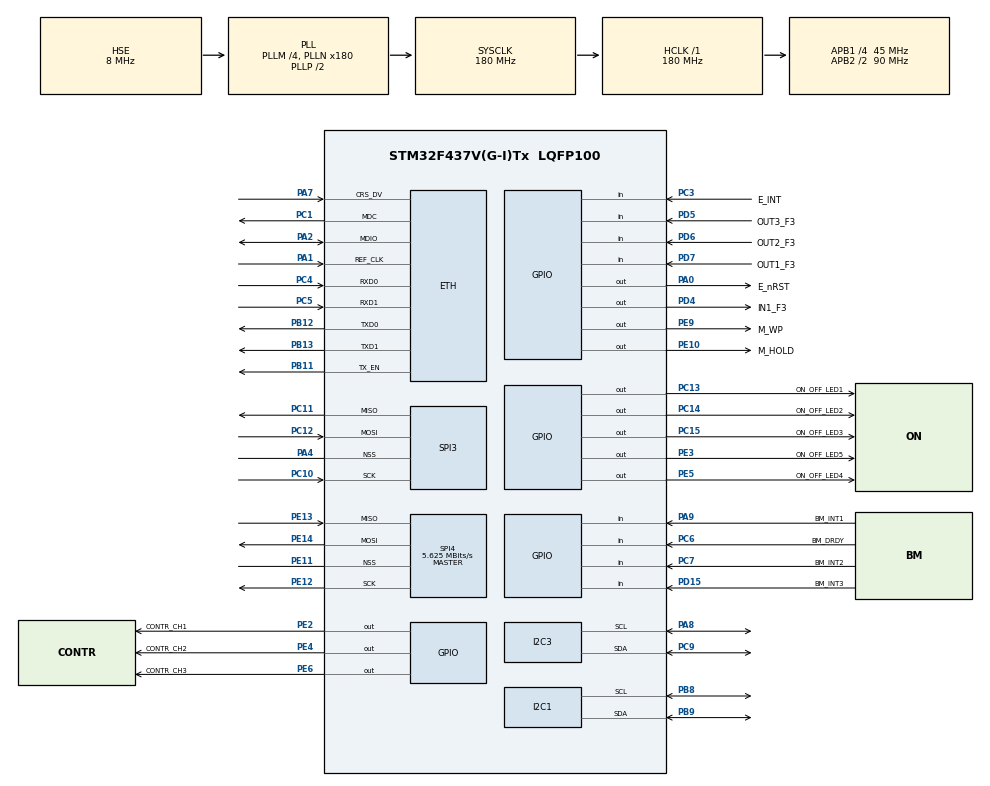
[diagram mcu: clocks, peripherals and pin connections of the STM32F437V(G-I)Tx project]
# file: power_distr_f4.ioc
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Dma.I2C1_RX.3.Channel=DMA_CHANNEL_1
Dma.I2C1_RX.3.Direction=DMA_PERIPH_TO_MEMORY
Dma.I2C1_RX.3.FIFOMode=DMA_FIFOMODE_DISABLE
Dma.I2C1_RX.3.Instance=DMA1_Stream5
Dma.I2C1_RX.3.MemDataAlignment=DMA_MDATAALIGN_BYTE
Dma.I2C1_RX.3.MemInc=DMA_MINC_ENABLE
Dma.I2C1_RX.3.Mode=DMA_NORMAL
Dma.I2C1_RX.3.PeriphDataAlignment=DMA_PDATAALIGN_BYTE
Dma.I2C1_RX.3.PeriphInc=DMA_PINC_DISABLE
Dma.I2C1_RX.3.Priority=DMA_PRIORITY_VERY_HIGH
Dma.I2C1_TX.4.Channel=DMA_CHANNEL_1
Dma.I2C1_TX.4.Direction=DMA_MEMORY_TO_PERIPH
Dma.I2C1_TX.4.FIFOMode=DMA_FIFOMODE_DISABLE
Dma.I2C1_TX.4.Instance=DMA1_Stream6
Dma.I2C1_TX.4.MemDataAlignment=DMA_MDATAALIGN_BYTE
Dma.I2C1_TX.4.MemInc=DMA_MINC_ENABLE
Dma.I2C1_TX.4.Mode=DMA_NORMAL
Dma.I2C1_TX.4.PeriphDataAlignment=DMA_PDATAALIGN_BYTE
Dma.I2C1_TX.4.PeriphInc=DMA_PINC_DISABLE
Dma.I2C1_TX.4.Priority=DMA_PRIORITY_LOW
Dma.I2C3_RX.2.Channel=DMA_CHANNEL_3
Dma.I2C3_RX.2.Direction=DMA_PERIPH_TO_MEMORY
Dma.I2C3_RX.2.FIFOMode=DMA_FIFOMODE_DISABLE
Dma.I2C3_RX.2.Instance=DMA1_Stream2
Dma.I2C3_RX.2.MemDataAlignment=DMA_MDATAALIGN_BYTE
Dma.I2C3_RX.2.MemInc=DMA_MINC_ENABLE
Dma.I2C3_RX.2.Mode=DMA_NORMAL
Dma.I2C3_RX.2.PeriphDataAlignment=DMA_PDATAALIGN_BYTE
Dma.I2C3_RX.2.PeriphInc=DMA_PINC_DISABLE
Dma.I2C3_RX.2.Priority=DMA_PRIORITY_MEDIUM
Dma.I2C3_TX.1.Channel=DMA_CHANNEL_3
Dma.I2C3_TX.1.Direction=DMA_MEMORY_TO_PERIPH
Dma.I2C3_TX.1.FIFOMode=DMA_FIFOMODE_DISABLE
Dma.I2C3_TX.1.Instance=DMA1_Stream4
Dma.I2C3_TX.1.MemDataAlignment=DMA_MDATAALIGN_BYTE
Dma.I2C3_TX.1.MemInc=DMA_MINC_ENABLE
Dma.I2C3_TX.1.Mode=DMA_NORMAL
Dma.I2C3_TX.1.PeriphDataAlignment=DMA_PDATAALIGN_BYTE
Dma.I2C3_TX.1.PeriphInc=DMA_PINC_DISABLE
Dma.I2C3_TX.1.Priority=DMA_PRIORITY_MEDIUM
Dma.Request0=SPI3_RX
Dma.Request1=I2C3_TX
Dma.Request2=I2C3_RX
Dma.Request3=I2C1_RX
Dma.Request4=I2C1_TX
Dma.SPI3_RX.0.Channel=DMA_CHANNEL_0
Dma.SPI3_RX.0.Direction=DMA_PERIPH_TO_MEMORY
Dma.SPI3_RX.0.FIFOMode=DMA_FIFOMODE_DISABLE
Dma.SPI3_RX.0.Instance=DMA1_Stream0
Dma.SPI3_RX.0.MemDataAlignment=DMA_MDATAALIGN_BYTE
Dma.SPI3_RX.0.MemInc=DMA_MINC_ENABLE
Dma.SPI3_RX.0.Mode=DMA_CIRCULAR
Dma.SPI3_RX.0.PeriphDataAlignment=DMA_PDATAALIGN_BYTE
Dma.SPI3_RX.0.PeriphInc=DMA_PINC_DISABLE
Dma.SPI3_RX.0.Priority=DMA_PRIORITY_HIGH
ETH.MediaInterface=ETH_MEDIA_INTERFACE_RMII
FREERTOS.Tasks01=defaultTask,0,128,StartDefaultTask;mTask,-2,512,taskMain;iTask,0,128,taskI2cTrans;wcTask,0,128,taskWriteConf;rcTask,0,128,taskReadConf
FREERTOS.configUSE_TIMERS=0
I2C1.I2C_Mode=I2C_Fast
I2C1.OwnAddress=1
I2C3.I2C_Mode=I2C_Fast
LWIP.GATEWAY_ADDRESS=192.168.203.001
LWIP.IP_ADDRESS=192.168.203.035
LWIP.LWIP_DHCP=0
LWIP.LWIP_TCP=0
LWIP.MEMP_NUM_TCP_PCB=0
LWIP.MEMP_NUM_TCP_PCB_LISTEN=0
LWIP.MEMP_NUM_TCP_SEG=0
LWIP.MEM_SIZE=20 * 1024
LWIP.NETMASK_ADDRESS=255.255.255.000
Mcu.Family=STM32F4
Mcu.Name=STM32F437V(G-I)Tx
Mcu.Package=LQFP100
NVIC.DMA1_Stream0_IRQn=true\:13\:0\:true
NVIC.DMA1_Stream2_IRQn=true\:14\:0\:true
NVIC.DMA1_Stream4_IRQn=true\:14\:0\:true
NVIC.DMA1_Stream5_IRQn=true\:12\:0\:true
NVIC.DMA1_Stream6_IRQn=true\:14\:0\:true
NVIC.ETH_IRQn=true\:12\:0\:true
NVIC.PriorityGroup=NVIC_PRIORITYGROUP_4
PA0/WKUP.GPIO_Label=E_nRST
PA0/WKUP.Signal=GPIO_Output
PA1.Mode=RMII
PA1.Signal=ETH_REF_CLK
PA13.Mode=JTAG(5-pin)
PA13.Signal=SYS_JTMS-SWDIO
PA14.Mode=JTAG(5-pin)
PA14.Signal=SYS_JTCK-SWCLK
PA15.Mode=JTAG(5-pin)
PA15.Signal=SYS_JTDI
PA2.Mode=RMII
PA2.Signal=ETH_MDIO
PA4.Mode=NSS_Signal_Hard
PA4.Signal=SPI3_NSS
PA7.Mode=RMII
PA7.Signal=ETH_CRS_DV
PA8.Mode=I2C
PA8.Signal=I2C3_SCL
PA9.GPIO_Label=BM_INT1
PA9.Signal=GPIO_Input
PB10.Signal=ETH_RX_ER
PB11.Mode=RMII
PB11.Signal=ETH_TX_EN
PB12.Mode=RMII
PB12.Signal=ETH_TXD0
PB13.Mode=RMII
PB13.Signal=ETH_TXD1
PB3.Mode=JTAG(5-pin)
PB3.Signal=SYS_JTDO-SWO
PB4.Mode=JTAG(5-pin)
PB4.Signal=SYS_JTRST
PB8.Mode=I2C
PB8.Signal=I2C1_SCL
PB9.Mode=I2C
PB9.Signal=I2C1_SDA
PC1.Mode=RMII
PC1.Signal=ETH_MDC
PC10.Mode=Full_Duplex_Slave
PC10.Signal=SPI3_SCK
PC11.Mode=Full_Duplex_Slave
PC11.Signal=SPI3_MISO
PC12.Mode=Full_Duplex_Slave
PC12.Signal=SPI3_MOSI
PC13.GPIO_Label=ON_OFF_LED1
PC13.Signal=GPIO_Output
PC14/OSC32_IN.GPIO_Label=ON_OFF_LED2
PC14/OSC32_IN.Signal=GPIO_Output
PC15/OSC32_OUT.GPIO_Label=ON_OFF_LED3
PC15/OSC32_OUT.Signal=GPIO_Output
PC3.GPIO_Label=E_INT
PC3.Signal=GPIO_Input
PC4.Mode=RMII
PC4.Signal=ETH_RXD0
PC5.Mode=RMII
PC5.Signal=ETH_RXD1
PC6.GPIO_Label=BM_DRDY
PC6.Signal=GPIO_Input
PC7.GPIO_Label=BM_INT2
PC7.Signal=GPIO_Input
PC9.Mode=I2C
PC9.Signal=I2C3_SDA
PD15.GPIO_Label=BM_INT3
PD15.Signal=GPIO_Input
PD4.GPIO_Label=IN1_F3
PD4.Signal=GPIO_Output
PD5.GPIO_Label=OUT3_F3
PD5.Signal=GPIO_Input
PD6.GPIO_Label=OUT2_F3
PD6.Signal=GPIO_Input
PD7.GPIO_Label=OUT1_F3
PD7.Signal=GPIO_Input
PE10.GPIO_Label=M_HOLD
PE10.Signal=GPIO_Output
PE11.Mode=NSS_Signal_Hard
PE11.Signal=SPI4_NSS
PE12.Mode=Full_Duplex_Master
PE12.Signal=SPI4_SCK
PE13.Mode=Full_Duplex_Master
PE13.Signal=SPI4_MISO
PE14.Mode=Full_Duplex_Master
PE14.Signal=SPI4_MOSI
PE2.GPIO_Label=CONTR_CH1
PE2.Signal=GPIO_Output
PE3.GPIO_Label=ON_OFF_LED5
PE3.Signal=GPIO_Output
PE4.GPIO_Label=CONTR_CH2
PE4.Signal=GPIO_Output
PE5.GPIO_Label=ON_OFF_LED4
PE5.Signal=GPIO_Output
PE6.GPIO_Label=CONTR_CH3
PE6.Signal=GPIO_Output
PE9.GPIO_Label=M_WP
PE9.Signal=GPIO_Output
PH0/OSC_IN.Mode=HSE-External-Oscillator
PH0/OSC_IN.Signal=RCC_OSC_IN
PH1/OSC_OUT.Mode=HSE-External-Oscillator
PH1/OSC_OUT.Signal=RCC_OSC_OUT
ProjectManager.TargetToolchain=SW4STM32
RCC.48MHZClocksFreq_Value=90000000
RCC.AHBFreq_Value=180000000
RCC.APB1CLKDivider=RCC_HCLK_DIV4
RCC.APB1Freq_Value=45000000
RCC.APB1TimFreq_Value=90000000
RCC.APB2CLKDivider=RCC_HCLK_DIV2
RCC.APB2Freq_Value=90000000
RCC.APB2TimFreq_Value=180000000
RCC.CortexFreq_Value=180000000
RCC.HCLKFreq_Value=180000000
RCC.HSE_VALUE=8000000
RCC.HSI_VALUE=16000000
RCC.LSE_VALUE=32768
RCC.PLLM=4
RCC.PLLN=180
RCC.PLLSourceVirtual=RCC_PLLSOURCE_HSE
RCC.SYSCLKFreq_VALUE=180000000
RCC.SYSCLKSource=RCC_SYSCLKSOURCE_PLLCLK
RCC.VCOOutputFreq_Value=360000000
SPI3.DataSize=SPI_DATASIZE_16BIT
SPI3.VirtualNSS=VM_NSSHARD
SPI3.VirtualType=VM_SLAVE
SPI4.BaudRatePrescaler=SPI_BAUDRATEPRESCALER_16
SPI4.CalculateBaudRate=5.625 MBits/s
SPI4.Mode=SPI_MODE_MASTER
SPI4.VirtualNSS=VM_NSSHARD
VP_FREERTOS_VS_ENABLE.Mode=Enabled
VP_LWIP_VS_Enabled.Mode=Enabled
board=power_distr_f4

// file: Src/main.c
/**
  ******************************************************************************
  * File Name          : main.c
  * Description        : Main program body
  ******************************************************************************
  *
  * COPYRIGHT(c) 2016 STMicroelectronics
  *
  * Redistribution and use in source and binary forms, with or without modification,
  * are permitted provided that the following conditions are met:
  *   1. Redistributions of source code must retain the above copyright notice,
  *      this list of conditions and the following disclaimer.
  *   2. Redistributions in binary form must reproduce the above copyright notice,
  *      this list of conditions and the following disclaimer in the documentation
  *      and/or other materials provided with the distribution.
  *   3. Neither the name of STMicroelectronics nor the names of its contributors
  *      may be used to endorse or promote products derived from this software
  *      without specific prior written permission.
  *
  * THIS SOFTWARE IS PROVIDED BY THE COPYRIGHT HOLDERS AND CONTRIBUTORS "AS IS"
  * AND ANY EXPRESS OR IMPLIED WARRANTIES, INCLUDING, BUT NOT LIMITED TO, THE
  * IMPLIED WARRANTIES OF MERCHANTABILITY AND FITNESS FOR A PARTICULAR PURPOSE ARE
  * DISCLAIMED. IN NO EVENT SHALL THE COPYRIGHT HOLDER OR CONTRIBUTORS BE LIABLE
  * FOR ANY DIRECT, INDIRECT, INCIDENTAL, SPECIAL, EXEMPLARY, OR CONSEQUENTIAL
  * DAMAGES (INCLUDING, BUT NOT LIMITED TO, PROCUREMENT OF SUBSTITUTE GOODS OR
  * SERVICES; LOSS OF USE, DATA, OR PROFITS; OR BUSINESS INTERRUPTION) HOWEVER
  * CAUSED AND ON ANY THEORY OF LIABILITY, WHETHER IN CONTRACT, STRICT LIABILITY,
  * OR TORT (INCLUDING NEGLIGENCE OR OTHERWISE) ARISING IN ANY WAY OUT OF THE USE
  * OF THIS SOFTWARE, EVEN IF ADVISED OF THE POSSIBILITY OF SUCH DAMAGE.
  *
  ******************************************************************************
  */
#include "stm32f4xx_hal.h"
#include "cmsis_os.h"
#include "dma.h"
#include "i2c.h"
#include "lwip.h"
#include "spi.h"
#include "gpio.h"
#include "configure.h"

/* USER CODE BEGIN PV */
/* Private variables ---------------------------------------------------------*/

/* USER CODE END PV */

void SystemClock_Config(void);
void MX_FREERTOS_Init(void);

/* USER CODE BEGIN PFP */
/* Private function prototypes -----------------------------------------------*/

/* USER CODE END PFP */

int main(void)
{

  /* MCU Configuration----------------------------------------------------------*/

  /* Reset of all peripherals, Initializes the Flash interface and the Systick. */
  HAL_Init();

  /* Configure the system clock */
  SystemClock_Config();

  /* Initialize all configured peripherals */
  MX_GPIO_Init();
  MX_DMA_Init();
  MX_I2C1_Init();
  MX_I2C3_Init();
  MX_SPI3_Init();
  MX_SPI4_Init();

  /* Call init function for freertos objects (in freertos.c) */
  MX_FREERTOS_Init();

  /* Start scheduler */
  osKernelStart();

  /* We should never get here as control is now taken by the scheduler */

  /* Infinite loop */
  while (1)
  {

  }

}

/** System Clock Configuration
*/
void SystemClock_Config(void)
{

  RCC_OscInitTypeDef RCC_OscInitStruct;
  RCC_ClkInitTypeDef RCC_ClkInitStruct;

  __PWR_CLK_ENABLE();

  __HAL_PWR_VOLTAGESCALING_CONFIG(PWR_REGULATOR_VOLTAGE_SCALE1);

  RCC_OscInitStruct.OscillatorType = RCC_OSCILLATORTYPE_HSE;
  RCC_OscInitStruct.HSEState = RCC_HSE_ON;
  RCC_OscInitStruct.PLL.PLLState = RCC_PLL_ON;
  RCC_OscInitStruct.PLL.PLLSource = RCC_PLLSOURCE_HSE;
  RCC_OscInitStruct.PLL.PLLM = 4;
  RCC_OscInitStruct.PLL.PLLN = 180;
  RCC_OscInitStruct.PLL.PLLP = RCC_PLLP_DIV2;
  RCC_OscInitStruct.PLL.PLLQ = 4;
  HAL_RCC_OscConfig(&RCC_OscInitStruct);

  HAL_PWREx_ActivateOverDrive();

  RCC_ClkInitStruct.ClockType = RCC_CLOCKTYPE_SYSCLK|RCC_CLOCKTYPE_PCLK1
                              |RCC_CLOCKTYPE_PCLK2;
  RCC_ClkInitStruct.SYSCLKSource = RCC_SYSCLKSOURCE_PLLCLK;
  RCC_ClkInitStruct.AHBCLKDivider = RCC_SYSCLK_DIV1;
  RCC_ClkInitStruct.APB1CLKDivider = RCC_HCLK_DIV4;
  RCC_ClkInitStruct.APB2CLKDivider = RCC_HCLK_DIV2;
  HAL_RCC_ClockConfig(&RCC_ClkInitStruct, FLASH_LATENCY_5);

  HAL_SYSTICK_Config(HAL_RCC_GetHCLKFreq()/1000);

  HAL_SYSTICK_CLKSourceConfig(SYSTICK_CLKSOURCE_HCLK);

  /* SysTick_IRQn interrupt configuration */
  HAL_NVIC_SetPriority(SysTick_IRQn, 15, 0);
}

/************************ (C) COPYRIGHT STMicroelectronics *****END OF FILE****/

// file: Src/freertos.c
/**
 ******************************************************************************
 * File Name          : freertos.c
 * Description        : Code for freertos applications
 ******************************************************************************
 *
 * COPYRIGHT(c) 2016 STMicroelectronics
 *
 * Redistribution and use in source and binary forms, with or without modification,
 * are permitted provided that the following conditions are met:
 *   1. Redistributions of source code must retain the above copyright notice,
 *      this list of conditions and the following disclaimer.
 *   2. Redistributions in binary form must reproduce the above copyright notice,
 *      this list of conditions and the following disclaimer in the documentation
 *      and/or other materials provided with the distribution.
 *   3. Neither the name of STMicroelectronics nor the names of its contributors
 *      may be used to endorse or promote products derived from this software
 *      without specific prior written permission.
 *
 * THIS SOFTWARE IS PROVIDED BY THE COPYRIGHT HOLDERS AND CONTRIBUTORS "AS IS"
 * AND ANY EXPRESS OR IMPLIED WARRANTIES, INCLUDING, BUT NOT LIMITED TO, THE
 * IMPLIED WARRANTIES OF MERCHANTABILITY AND FITNESS FOR A PARTICULAR PURPOSE ARE
 * DISCLAIMED. IN NO EVENT SHALL THE COPYRIGHT HOLDER OR CONTRIBUTORS BE LIABLE
 * FOR ANY DIRECT, INDIRECT, INCIDENTAL, SPECIAL, EXEMPLARY, OR CONSEQUENTIAL
 * DAMAGES (INCLUDING, BUT NOT LIMITED TO, PROCUREMENT OF SUBSTITUTE GOODS OR
 * SERVICES; LOSS OF USE, DATA, OR PROFITS; OR BUSINESS INTERRUPTION) HOWEVER
 * CAUSED AND ON ANY THEORY OF LIABILITY, WHETHER IN CONTRACT, STRICT LIABILITY,
 * OR TORT (INCLUDING NEGLIGENCE OR OTHERWISE) ARISING IN ANY WAY OUT OF THE USE
 * OF THIS SOFTWARE, EVEN IF ADVISED OF THE POSSIBILITY OF SUCH DAMAGE.
 *
 ******************************************************************************
 */

#include "FreeRTOS.h"
#include "task.h"
#include "cmsis_os.h"
#include "spi.h"
#include "i2c.h"

/* USER CODE BEGIN Includes */
#include "configure.h"
#include <string.h>
#include "lwip/api.h"
/* USER CODE END Includes */

osThreadId defaultTaskHandle;
osThreadId mTaskHandle;
osThreadId iTaskHandle;
osThreadId wcTaskHandle;
osThreadId rcTaskHandle;

/* USER CODE BEGIN Variables */
osPoolId poolUInt32_Id;	//пул, содержащий int32_t элементы
osPoolId poolSecConfigure_Id;	//пул, содержащий Configure элементы
osMailQId qInputTransI2c1_Id;	//входная очередь сообщений, предназначенных для передачи по i2c1 интерфейсу
osMessageQId qMainTaskComHandle;	//входная очередь основной задачи
osMailQId qMainTaskInputConf_Id;	//входная очередь конфигурации основной задачи
static uint16_t bufData[NUM_ELEM_BUF_DATA];	//буфер данных, заполняемый показаниями мониторинга питания МАД
static uint16_t* addrBegBufData = bufData;	//адрес начала буфера данных
static uint16_t* addrMeanBufData = bufData + NUM_ELEM_BUF_DATA/2;	//адрес середины буфера данных
static uint16_t* addrEndBufData = bufData + NUM_ELEM_BUF_DATA;	//адрес последнего элемента буфера данных
static struct Sample* addrStopPoint;	//адрес следующей точки остановки мониторинговой программы
static struct Sample* addrCurPoint;	//адрес текущего положения мониторинговой программы
static uint32_t countOfLead;	//счётчик опережения. Используется для определния насколько сегментов мониторинг данных отстал от их заполнения
static struct Configure configureEEPROM;	//общая конфигурация приложения
static uint32_t i2c1RecMes;
static struct Status status;
static struct netconn *conn;
static struct ip_addr ipSc;
static int8_t bufDataMonitPower[10 * MAX_SAMPL_IN_PACK_DATA_MONIT_POWER + sizeof(struct HeadPack) + sizeof(int32_t)];	//заполняемый буфер данных мониторинга питания перед отправкой по ethernet
static int8_t bufInfo[sizeof(struct HeadPack) + sizeof(int32_t) + 5 * sizeof(int32_t)];	//заполняемый буфер для передачи информационных сообщений
static struct StatusFillEthBufOfDataMonitPower stFillBufMonitPower;
uint32_t t_count1 = 0;
uint32_t t_count2 = 0;
uint32_t t_count3 = 0;
/* USER CODE END Variables */

void StartDefaultTask(void const * argument);
void taskMain(void const * argument);
void taskI2cTrans(void const * argument);
void taskWriteConf(void const * argument);
void taskReadConf(void const * argument);
void taskUdpReceiv(void const * argument);

extern void MX_LWIP_Init(void);
void MX_FREERTOS_Init(void); /* (MISRA C 2004 rule 8.1) */

/* USER CODE BEGIN FunctionPrototypes */
void countOfLeadSetZero(void);	//обнуление счётчика опережения
void countOfLeadInc(void);	//инкрементирование счётчика опережения
void countOfLeadDec(void); //декрементировать счётчик опережения
uint32_t countOfLeadRead(void); //прочитать счётчик опережения
void initTrackingPower(void);	//предварительная подготовка перед стартом мониторинга питания МАД
struct Sample* getCurAddrDmaSpi3Rx(void);	//сообщает текущий адрес заполнения DMA ADC
void setStopPointAtBegSegment(void);	//установить точку останова в начало следующего сегмента
void sendSecConfigure(void);	//послать в F3 конфигурацию безопасности
void sendEnableTransMonitData(void);	//послать разрешение F3 передавать данные мониторинга
void sendDisableTransMonitData(void);	//послать запрет F3 передавать данные мониторинга
void sendStartMonitPower(void);	//запуск оцифровки мониторной информации по питанию
void activLedCurrentMad(uint16_t numMad);	//активирование светодиода нормального потребления МАД
void deactivLedCurrentMad(uint16_t numMad);	//деактивирование светодиода нормального потребления МАД
void activLed300V(void); //активирование светодиода, указывающего, что значение питающего напряжения 300V находится в пределах нормы
void deactivLed300V(void); //деактивирование светодиода, указывающего, что значение питающего напряжения 300V находится в пределах нормы
void activLed48V(void); //активирование светодиода, указывающего, что значение питающего напряжения 48V находится в пределах нормы
void deactivLed48V(void); //деактивирование светодиода, указывающего, что значение питающего напряжения 48V находится в пределах нормы
void moveOnRelay(uint16_t numMad);	//включение реле МАД
void moveOffRelay(uint16_t numMad);	//выключение реле МАД
void infoMoveToOverheadCurrentMad(uint16_t numMad);	//переход тока потребления МАД в состояние перегрузки
void infoMoveToNormalCurrentMad(uint16_t numMad);	//переход тока потребления МАД в нормальное состояние
void setConfigure(struct Configure* pConf); //установить текущую конфигурацию приложения
void sendBufToSc(void* pBuf, size_t len);	//послать буфер в береговой центр
void sendAnsStatus(int32_t statExecCom);	//послать ответ, содержащий помимо подтверждения(или опровержения) запршенной команды статусную информацию
void sendAnsConfig(int32_t statExecCom);	//послать ответ, содержащий помимо подтверждения(или опровержения) запршенной команды информацию о конфигурации в EEPROM
void sendBufMonitPowerToSc(size_t lenPayolad);	//послать буфер данных мониторинга питания в береговой центр
void sendBufINFOToSc(size_t lenPayolad);	//послать буфер информации в береговой центр
void setModeF3toRec(void);	//установить режим F3 в режим приёмника
void setModeF3toTrans(void);	//установить режим F3 в режим передатчика
void processSampleMonitPower(struct Sample* pSampl);	//обработка отсчёта мониторинга питания
void initHeadPackDataMonitPower(void);	//инициализация заголовка пакета данных мониторинга питания
void initHeadPackInfo(void);	//инициализация заголовка пакета передачи информации
void setPeriodTransDataMonitPower(int32_t time);	//установить период передачи данных мониторинга питания (мкс)
struct Sample normalization(struct Sample* pSampl);	//нормализация значений выборки данных мониторинга питания
void writeToEEPROM(int8_t* pBuf, size_t len);	//запись данных в EEPROM память
void readFromEEPROM(int8_t* pBuf, size_t len);	//считывание данных из EEPROM память
void sendAndRecByteToEEPROM(int8_t bT, int8_t* bR);
void moveCsSPI4ToLow(void);
void moveCsSPI4ToHigh(void);
void setTestPinPA3(void);
void setTestPinEx13(void);
void toggleTestPinEx13(void);
void setTestPinEx15(void);
void toggleTestPinEx15(void);
void setTestPinEx16(void);
void testCount1(void);
void testCount2(void);
void testCount3(void);
/* USER CODE END FunctionPrototypes */

/* Hook prototypes */

/* Init FreeRTOS */

void MX_FREERTOS_Init(void) {

	/* USER CODE BEGIN RTOS_POOLS */
	/* add pools, ... */
	osPoolDef(poolUInt32, 20, uint32_t);
	poolUInt32_Id = osPoolCreate(osPool(poolUInt32));
	osPoolDef(poolSecConfigure, 3, struct SecConfigure);
	poolSecConfigure_Id = osPoolCreate(osPool(poolSecConfigure));
	/* USER CODE END RTOS_POOLS */

	/* Create the thread(s) */
	/* definition and creation of defaultTask */
	osThreadDef(defaultTask, StartDefaultTask, osPriorityNormal, 0, 512);
	defaultTaskHandle = osThreadCreate(osThread(defaultTask), NULL);

	/* definition and creation of mTask */
	osThreadDef(mTask, taskMain, osPriorityLow, 0, 1024);
	mTaskHandle = osThreadCreate(osThread(mTask), NULL);

	/* definition and creation of iTask */
	osThreadDef(iTask, taskI2cTrans, osPriorityNormal, 0, 512);
	iTaskHandle = osThreadCreate(osThread(iTask), NULL);

	/* definition and creation of wcTask */
	osThreadDef(wcTask, taskWriteConf, osPriorityNormal, 0, 512);
	wcTaskHandle = osThreadCreate(osThread(wcTask), NULL);

	/* definition and creation of rcTask */
	osThreadDef(rcTask, taskReadConf, osPriorityNormal, 0, 512);
	rcTaskHandle = osThreadCreate(osThread(rcTask), NULL);

	/* USER CODE BEGIN RTOS_QUEUES */
	/* add queues, ... */
	osMailQDef(qInputTransI2c1, 10, struct I2cMesTrans);
	qInputTransI2c1_Id = osMailCreate(osMailQ(qInputTransI2c1), NULL);

	osMessageQDef(qMainTaskCom, 20, uint32_t);
	qMainTaskComHandle = osMessageCreate(osMessageQ(qMainTaskCom), NULL);

	osMailQDef(qMainTaskInputConf, 1, struct Configure);
	qMainTaskInputConf_Id = osMailCreate(osMailQ(qMainTaskInputConf), NULL);

	/* USER CODE END RTOS_QUEUES */
}

/* StartDefaultTask function */
void StartDefaultTask(void const * argument)
{
	/* init code for LWIP */
	MX_LWIP_Init();
	for(;;)
	{
		osDelay(1);
	}
}

/* taskMain function */
void taskMain(void const * argument)
{
	/* USER CODE BEGIN taskMain */
	static osEvent event;
	static union I2cMes mes;

	static uint32_t nextTimePointOnPowerMAD;	//момент времени, когда производится включение следующего МАД
	static int32_t seqNextPowerOnMad = 1;	//порядковый номер следующего включаемого МАД
	static bool isFoundNextMadForPoweron = false;	//имеется следующий МАД для включения
	static uint32_t numNextPowerOnMad;		//номер следующего включаемого МАД в массиве МАД
	static struct netbuf* pNetBuf;
	static err_t netError;
	static int8_t bufRecEth[SIZE_BUF_REC_ETH];
	static struct HeadPack* pHead = (struct HeadPack*)bufRecEth;
	static uint32_t* id_com = (uint32_t*)(bufRecEth + sizeof(struct HeadPack));
	static struct OrderMadActivate orderAct[3];
	struct Configure* pConf;
	static int32_t* payoladInfo = (int32_t*)(bufInfo + sizeof(struct HeadPack));

	stFillBufMonitPower.alreadyFill = 0;
	stFillBufMonitPower.curNum = 0;
	status.conf.seqNumSample = DISABLE_TRANS_DATA;
	addrCurPoint = (struct Sample*)addrBegBufData;

	//создание netconn соединения
	conn = netconn_new(NETCONN_UDP);
	netconn_bind(conn, IP_ADDR_ANY, PORT_BAG_DEFAULT);
	IP4_ADDR(&ipSc,SC_IP_1, SC_IP_2, SC_IP_3, SC_IP_4);
	netconn_connect(conn, &ipSc, PORT_SC_DEFAULT);
	netconn_set_recvtimeout(conn, 1);

	//стартует приём управляющих данных по интерфейсу i2c1
	HAL_I2C_Slave_Receive_IT(&hi2c1, (uint8_t*)&i2c1RecMes, sizeof(uint32_t));

	//приведение системы в исходное состояние
	sendDisableTransMonitData();
	for(int i = 1; i <= 3; i++)
		moveOffRelay(i);
	deactivLed48V();
	deactivLed300V();

	initHeadPackDataMonitPower();
	initHeadPackInfo();
	//чтение сообщений из очереди конфигурации
	event = osMailGet(qMainTaskInputConf_Id, osWaitForever);
	pConf = (struct Configure*)event.value.p;
	setConfigure(pConf);
	for(int i = 0; i < 3; i++)
		orderAct[i] = configureEEPROM.order[i];
	sendSecConfigure();
	sendStartMonitPower();

	//определение первого включаемого МАД
	nextTimePointOnPowerMAD = osKernelSysTick();
	while(seqNextPowerOnMad <= 3 && !isFoundNextMadForPoweron) {
		for(numNextPowerOnMad = 0; numNextPowerOnMad < 3; numNextPowerOnMad++) {
			if (orderAct[numNextPowerOnMad].seq == seqNextPowerOnMad) {
				isFoundNextMadForPoweron = true;
				break;
			}
		}
		++seqNextPowerOnMad;
	}
	if(isFoundNextMadForPoweron)
		nextTimePointOnPowerMAD += osKernelSysTickMicroSec(orderAct[numNextPowerOnMad].timeAfterPrevActivate * 1000);

	osMailFree(qMainTaskInputConf_Id, pConf);
	if(status.conf.seqNumSample != DISABLE_TRANS_DATA)
		sendEnableTransMonitData();
	/* Infinite loop */
	for(;;)
	{
		if(isFoundNextMadForPoweron) {	//если до сих пор производится начальное включение МАД
			if(osKernelSysTick() >= nextTimePointOnPowerMAD) {
				moveOnRelay(numNextPowerOnMad + 1);
				orderAct[numNextPowerOnMad].seq = DISABLE_MAD;
				isFoundNextMadForPoweron = false;
				while(seqNextPowerOnMad <= 3 && !isFoundNextMadForPoweron) {
					for(numNextPowerOnMad = 0; numNextPowerOnMad < 3; numNextPowerOnMad++) {
						if (orderAct[numNextPowerOnMad].seq == seqNextPowerOnMad) {
							isFoundNextMadForPoweron = true;
							break;
						}
					}
					++seqNextPowerOnMad;
				}
				if(isFoundNextMadForPoweron)
					nextTimePointOnPowerMAD += osKernelSysTickMicroSec(orderAct[numNextPowerOnMad].timeAfterPrevActivate * 1000);
			}
		}
		//проверка входной очереди команд
		event = osMessageGet (qMainTaskComHandle, 0);
		if(event.status == osEventMessage) {
			mes.blob = event.value.v;
			switch(mes.frame.id) {
			case MES_GET_CONFIGURE:
				sendDisableTransMonitData();
				sendSecConfigure();
				if(status.conf.seqNumSample != DISABLE_TRANS_DATA)
					sendEnableTransMonitData();
				break;
			case MES_CUR_TO_OVERHEAD:
				*payoladInfo = INF_CUR_TO_OVERHEAD;
				*(payoladInfo +1) = mes.frame.arg;
				sendBufINFOToSc(2 * sizeof(int32_t));
				break;
			case MES_CUR_TO_NORMAL:
				*payoladInfo = INF_CUR_TO_NORMAL;
				*(payoladInfo +1) = mes.frame.arg;
				sendBufINFOToSc(2 * sizeof(int32_t));
				break;
			case MES_VOLT_48V_TO_SEC_MODE:
				*payoladInfo = INF_VOLT_48V_TO_SEC_MODE;
				sendBufINFOToSc(sizeof(int32_t));
				status.stPower.is48vActive = true;
				activLed48V();
				break;
			case MES_VOLT_48V_TO_UNSEC_MODE:
				*payoladInfo = INF_VOLT_48V_TO_UNSEC_MODE;
				sendBufINFOToSc(sizeof(int32_t));
				status.stPower.is48vActive = DEACTIVE;
				deactivLed48V();
				break;
			case MES_VOLT_300V_TO_SEC_MODE:
				*payoladInfo = INF_VOLT_300V_TO_SEC_MODE;
				sendBufINFOToSc(sizeof(int32_t));
				activLed300V();
				status.stPower.is300vActive = ACTIVE;
				break;
			case MES_VOLT_300V_TO_UNSEC_MODE:
				*payoladInfo = INF_VOLT_300V_TO_UNSEC_MODE;
				sendBufINFOToSc(sizeof(int32_t));
				status.stPower.is300vActive = DEACTIVE;
				deactivLed300V();
				break;
			case MES_MONIT_NOT_TIME:
				*payoladInfo = INF_MONIT_F3_NOT_TIME;
				sendBufINFOToSc(sizeof(int32_t));
				break;
			case MES_OVR_ADC:
				sendDisableTransMonitData();
				*payoladInfo = INF_OVR_ADC;
				sendBufINFOToSc(sizeof(int32_t));
				if(status.conf.seqNumSample != DISABLE_TRANS_DATA)
					sendEnableTransMonitData();
				break;
			case MES_SPI_TRANS_NOT_TIME:
				sendDisableTransMonitData();
				*payoladInfo = INF_SPI_TRANS_NOT_TIME;
				sendBufINFOToSc(sizeof(int32_t));
				if(status.conf.seqNumSample != DISABLE_TRANS_DATA)
					sendEnableTransMonitData();
				break;
			}
		}

		//проверка достиг ли счётчик адресов начала очередного сегмента
		if(addrCurPoint == (struct Sample*)addrBegBufData || addrCurPoint == (struct Sample*)addrMeanBufData) {
			countOfLeadDec();
		}
		for(;addrCurPoint < addrStopPoint; ++addrCurPoint)
			processSampleMonitPower(addrCurPoint);
		//проверка: как обработка отсчётов мониторинга отстала от их выдачи
		switch(countOfLeadRead()) {
		case 0:
			addrStopPoint = getCurAddrDmaSpi3Rx();
			break;
		case 1:
			setStopPointAtBegSegment();
			break;
		case 2:
			if(addrCurPoint > getCurAddrDmaSpi3Rx()) {
				setStopPointAtBegSegment();
				break;
			}
			/* no break */
		case 3:
			taskENTER_CRITICAL();
			addrStopPoint = getCurAddrDmaSpi3Rx();
			if(addrStopPoint < (struct Sample*)addrMeanBufData)
				addrCurPoint = (struct Sample*)addrBegBufData;
			else
				addrCurPoint = (struct Sample*)addrMeanBufData;
			countOfLeadSetZero();
			taskEXIT_CRITICAL();
			*payoladInfo = INF_MONIT_F4_NOT_TIME;
			sendBufINFOToSc(sizeof(int32_t));
			break;
		}

		//проверка Ethernet сообщений
		netError =  netconn_recv( conn, &pNetBuf);
		if(netError == ERR_OK) {
			uint16_t len = netbuf_len(pNetBuf);
			if(len <= SIZE_BUF_REC_ETH && len >= sizeof(struct HeadPack) + sizeof(uint32_t)) {
				netbuf_copy ( pNetBuf, bufRecEth, len);
				netbuf_delete(pNetBuf);
				if(pHead->endpoints.idSrc == ID_SC && pHead->endpoints.idBlock == COMMAND) {
					switch(*id_com) {
					case POWERON:
					{
						if(len < sizeof(struct HeadPack) + 2 * sizeof(uint32_t))
							break;
						uint32_t* pNumMad = id_com + 1;
						moveOnRelay((uint16_t)*pNumMad);
						sendAnsStatus(OK);
						break;
					}
					case POWEROFF:
					{
						if(len < sizeof(struct HeadPack) + 2 * sizeof(uint32_t))
							break;
						uint32_t* pNumMad = id_com + 1;
						moveOffRelay((uint16_t)*pNumMad);
						sendAnsStatus(OK);
						break;
					}
					case SET_PERIOD_TRANS_DATA_MONIT_POWER:
					{
						if(len < sizeof(struct HeadPack) + 2 * sizeof(uint32_t))
							break;
						int32_t* numSample = (int32_t*)id_com + 1;
						setPeriodTransDataMonitPower(*numSample);
						sendAnsStatus(OK);
						break;
					}
					case START_MONIT_DATA_POW:
						if(len < sizeof(struct HeadPack) + sizeof(uint32_t))
							break;
						sendStartMonitPower();
						sendAnsStatus(OK);
						break;
					case SET_SEC_CONFIG_CURRENT_MAD:
						if(len < sizeof(struct HeadPack) + 2 * sizeof(uint32_t) + sizeof(struct MCur))
							break;
						int32_t* pNumMad = (int32_t*)id_com + 1;
						if(*pNumMad < 1 || *pNumMad > 3)
							break;
						struct MCur* pSec = (struct MCur*)(id_com + 2);
						pSec->max *= DIVISION_FACTOR_MA;
						pSec->time_overh /= SAMPLING_PERIOD_MONIT_POWER;
						status.conf.sec.mads[*pNumMad - 1] = *pSec;
						sendSecConfigure();
						sendAnsStatus(OK);
						break;
					case SET_SEC_CONFIG_48V:
						if(len < sizeof(struct HeadPack) + sizeof(uint32_t) + sizeof(struct Volt))
							break;
						struct Volt* p48Volt = (struct Volt*)(id_com + 1);
						p48Volt->max *= 1000;
						p48Volt->max /= MULTI_FACTOR_48V_MV;
						p48Volt->min *= 1000;
						p48Volt->min /= MULTI_FACTOR_48V_MV;
						p48Volt->time_overh /= SAMPLING_PERIOD_MONIT_POWER;
						status.conf.sec.v_48 = *p48Volt;
						sendSecConfigure();
						sendAnsStatus(OK);
						break;
					case SET_SEC_CONFIG_300V:
						if(len < sizeof(struct HeadPack) + sizeof(uint32_t) + sizeof(struct Volt))
							break;
						struct Volt* p300Volt = (struct Volt*)(id_com + 1);
						p300Volt->max *= DIVISION_FACTOR_300V_V;
						p300Volt->min *= DIVISION_FACTOR_300V_V;
						p300Volt->time_overh /= SAMPLING_PERIOD_MONIT_POWER;
						status.conf.sec.v_300 = *p300Volt;
						sendSecConfigure();
						sendAnsStatus(OK);
						break;
					case SAVE_CONFIG_IN_EEPROM:
						if(len < sizeof(struct HeadPack) + sizeof(uint32_t))
							break;
						writeToEEPROM((int8_t*)(&status.conf), sizeof(struct Configure));
						sendAnsConfig(OK);
						break;
					}
				}
			}
		}
	}
	/* USER CODE END taskMain */
}

/* taskI2cTrans function */
void taskI2cTrans(void const * argument)
{
	/* USER CODE BEGIN taskI2cTrans */
	/* Infinite loop */
	static osEvent event;
	static struct I2cMesTrans* pMes;
	static uint8_t blob[sizeof(struct SecConfigure)];
	static uint16_t lenBlob;
	static uint16_t devAddress;
	HAL_StatusTypeDef status;
	for(;;)
	{
		//чтение сообщений из очереди команд
		event = osMailGet(qInputTransI2c1_Id, osWaitForever);
		if(event.status == osEventMail) {
			pMes = (struct I2cMesTrans*)event.value.p;
			if(pMes->pool_id == poolUInt32_Id) {
				lenBlob = sizeof(uint32_t);
				devAddress = I2C_ADDR_COM;
			}
			else {
				lenBlob = sizeof(struct SecConfigure);
				devAddress = I2C_ADDR_CONF;
			}

			while(__HAL_I2C_GET_FLAG(&hi2c1, I2C_FLAG_BUSY) == SET)
				osDelay(1);
			setModeF3toRec();
			osDelay(10);
			__HAL_I2C_DISABLE_IT(&hi2c1,I2C_IT_EVT | I2C_IT_BUF  | I2C_IT_ERR);
			hi2c1.State = HAL_I2C_STATE_READY;
			memcpy(blob, pMes->pBuf, lenBlob);
			osPoolFree(pMes->pool_id, pMes->pBuf);
			osMailFree(qInputTransI2c1_Id, pMes);
			do {
				status = HAL_I2C_Master_Transmit_IT(&hi2c1, devAddress, blob, lenBlob);
			} while(status == HAL_BUSY || status == HAL_TIMEOUT);
		}
	}
}
/* USER CODE END taskI2cTrans */

/* taskWriteConf function */
void taskWriteConf(void const * argument)
{
	for(;;)
	{
		osDelay(1);
	}
}

/* taskReadConf function */
void taskReadConf(void const * argument)
{
	/* USER CODE BEGIN taskReadConf */
	struct Configure* pConf = (struct Configure*)osMailAlloc(qMainTaskInputConf_Id, osWaitForever);
	pConf->isEnableAutoOffPowerMad = false;
	pConf->isEnableMonitorOrientation = false;
	pConf->seqNumSample = DISABLE_TRANS_DATA;
	pConf->sec.v_48.max = 50;
	pConf->sec.v_48.min = 46;
	pConf->sec.v_48.time_overh = 10;
	pConf->sec.v_300.max = 350;
	pConf->sec.v_300.min = 250;
	pConf->sec.v_300.time_overh = 10;
	for(int i = 0; i < 3; i++) {
		pConf->sec.mads[i].max = 65535;
		pConf->sec.mads[i].time_overh = 10;
		pConf->order[i].timeAfterPrevActivate = 10;
		//pConf->order[i].seq = i+1;
		pConf->order[i].seq = DISABLE_MAD;
	}
	osMailPut(qMainTaskInputConf_Id, pConf);
	/* Infinite loop */

	for(;;)
	{
		osDelay(1);
	}
	/* USER CODE END taskReadConf */
}

void taskUdpReceiv(void const * argument) {

}

/* USER CODE BEGIN Application */

void HAL_SPI_RxHalfCpltCallback(SPI_HandleTypeDef *hspi) {
	if(hspi == &hspi3)
		countOfLeadInc();
	toggleTestPinEx15();
	testCount1();
}

void HAL_SPI_RxCpltCallback(SPI_HandleTypeDef *hspi) {
	if(hspi == &hspi3)
		countOfLeadInc();
	toggleTestPinEx15();
	testCount2();
}

void HAL_I2C_MasterTxCpltCallback(I2C_HandleTypeDef *hi2c) {
	if(hi2c == &hi2c1) {
		setModeF3toTrans();
		HAL_I2C_Slave_Receive_IT(&hi2c1, (uint8_t*)&i2c1RecMes, sizeof(uint32_t));
	}
}

void HAL_I2C_SlaveRxCpltCallback(I2C_HandleTypeDef *hi2c) {
	if(hi2c == &hi2c1) {
		osMessagePut(qMainTaskComHandle, i2c1RecMes, 0);
		HAL_I2C_Slave_Receive_IT(&hi2c1, (uint8_t*)&i2c1RecMes, sizeof(uint32_t));
	}
}

void countOfLeadSetZero(void) {
	taskDISABLE_INTERRUPTS();
	countOfLead = 0;
	taskENABLE_INTERRUPTS();
}

void countOfLeadInc(void) {
	taskDISABLE_INTERRUPTS();
	if(countOfLead < MAX_VAL_COUNT_LEAD)
		++countOfLead;
	taskENABLE_INTERRUPTS();
}

void countOfLeadDec(void) {
	taskDISABLE_INTERRUPTS();
	if(countOfLead > 0)
		--countOfLead;
	taskENABLE_INTERRUPTS();
}

uint32_t countOfLeadRead(void) {
	return countOfLead;
}

void initTrackingPower(void) {
	HAL_SPI_DMAStop(&hspi3);
	addrStopPoint = (struct Sample*)addrBegBufData;
	addrCurPoint = (struct Sample*)addrBegBufData;
	countOfLeadSetZero();
	//стартует приём данных мониторинга питания МАД
	HAL_SPI_Receive_DMA(&hspi3, (uint8_t *)bufData, /*(uint16_t)sizeof(bufData)*/NUM_ELEM_BUF_DATA);
}

struct Sample* getCurAddrDmaSpi3Rx(void) {
	uint32_t n = NUM_ELEM_BUF_DATA - hspi3.hdmarx->Instance->NDTR;
	return (struct Sample*)addrBegBufData + n/5;
}

void setStopPointAtBegSegment(void){
	if(addrCurPoint < (struct Sample*)addrMeanBufData)
		addrStopPoint = (struct Sample*)addrMeanBufData;
	else if(addrCurPoint < (struct Sample*)addrEndBufData)
		addrStopPoint = (struct Sample*)addrEndBufData;
	else {
		addrCurPoint = (struct Sample*)addrBegBufData;
		addrStopPoint = (struct Sample*)addrMeanBufData;
	}
}

void sendSecConfigure(void) {
	struct SecConfigure* pSec = (struct SecConfigure*)osPoolAlloc(poolSecConfigure_Id);
	if(pSec == NULL)
		return;
	*pSec = status.conf.sec;
	struct I2cMesTrans* pMes = (struct I2cMesTrans*)osMailAlloc(qInputTransI2c1_Id, 0);
	if(pMes == NULL)
		return;
	pMes->pBuf = (void*)pSec;
	pMes->pool_id = poolSecConfigure_Id;
	if(osMailPut(qInputTransI2c1_Id, pMes) != osOK) {
		osPoolFree(poolSecConfigure_Id, pSec);
		return;
	}
}

void sendEnableTransMonitData(void) {
	uint32_t* pCom = (uint32_t*)osPoolAlloc(poolUInt32_Id);
	if(pCom == NULL)
		return;
	*pCom = MES_ENABLE_TRANS_MONIT_DATA;
	struct I2cMesTrans* pMes = (struct I2cMesTrans*)osMailAlloc(qInputTransI2c1_Id, 0);
	if(pMes == NULL)
		return;
	pMes->pBuf = (void*)pCom;
	pMes->pool_id = poolUInt32_Id;
	if(osMailPut(qInputTransI2c1_Id, pMes) != osOK) {
		osPoolFree(poolUInt32_Id, pCom);
		return;
	}
	setTestPinEx16();
}

void sendDisableTransMonitData(void) {
	uint32_t* pCom = (uint32_t*)osPoolAlloc(poolUInt32_Id);
	if(pCom == NULL)
		return;
	*pCom = MES_DISABLE_TRANS_MONIT_DATA;
	struct I2cMesTrans* pMes = (struct I2cMesTrans*)osMailAlloc(qInputTransI2c1_Id, 0);
	if(pMes == NULL)
		return;
	pMes->pBuf = (void*)pCom;
	pMes->pool_id = poolUInt32_Id;
	if(osMailPut(qInputTransI2c1_Id, pMes) != osOK) {
		osPoolFree(poolUInt32_Id, pCom);
		return;
	}
	status.conf.isEnableAutoOffPowerMad = DEACTIVE;
	osDelay(100);
	initTrackingPower();
}

void sendStartMonitPower(void) {
	uint32_t* pCom = (uint32_t*)osPoolAlloc(poolUInt32_Id);
	if(pCom == NULL)
		return;
	*pCom = MES_START_MONIT_DATA;
	struct I2cMesTrans* pMes = (struct I2cMesTrans*)osMailAlloc(qInputTransI2c1_Id, 0);
	if(pMes == NULL)
		return;
	pMes->pBuf = (void*)pCom;
	pMes->pool_id = poolUInt32_Id;
	if(osMailPut(qInputTransI2c1_Id, pMes) != osOK) {
		osPoolFree(poolUInt32_Id, pCom);
		return;
	}
}
void activLedCurrentMad(uint16_t numMad) {
	uint16_t GPIO_Pin;
	if(numMad == 1)
		GPIO_Pin = GPIO_PIN_13;
	else if(numMad == 2)
		GPIO_Pin = GPIO_PIN_14;
	else if(numMad == 3)
		GPIO_Pin = GPIO_PIN_15;
	else
		return;
	HAL_GPIO_WritePin(GPIOC, GPIO_Pin, SET);
}
void deactivLedCurrentMad(uint16_t numMad) {
	uint16_t GPIO_Pin;
	if(numMad == 1)
		GPIO_Pin = GPIO_PIN_13;
	else if(numMad == 2)
		GPIO_Pin = GPIO_PIN_14;
	else if(numMad == 3)
		GPIO_Pin = GPIO_PIN_15;
	else
		return;
	HAL_GPIO_WritePin(GPIOC, GPIO_Pin, RESET);
}

void activLed300V(void) {
	taskDISABLE_INTERRUPTS();
	HAL_GPIO_WritePin(GPIOE, GPIO_PIN_3, SET);
	status.stPower.is300vActive = ACTIVE;
	taskENABLE_INTERRUPTS();
}

void deactivLed300V(void) {
	taskDISABLE_INTERRUPTS();
	HAL_GPIO_WritePin(GPIOE, GPIO_PIN_3, RESET);
	status.stPower.is300vActive = DEACTIVE;
	taskENABLE_INTERRUPTS();
}

void activLed48V(void) {
	taskDISABLE_INTERRUPTS();
	HAL_GPIO_WritePin(GPIOE, GPIO_PIN_5, SET);
	status.stPower.is48vActive = ACTIVE;
	taskENABLE_INTERRUPTS();
}

void deactivLed48V(void) {
	taskDISABLE_INTERRUPTS();
	HAL_GPIO_WritePin(GPIOE, GPIO_PIN_5, RESET);
	status.stPower.is48vActive = DEACTIVE;
	taskENABLE_INTERRUPTS();
}

void moveOnRelay(uint16_t numMad) {
	taskDISABLE_INTERRUPTS();
	uint16_t GPIO_Pin;
	if(numMad == 1)
		GPIO_Pin = GPIO_PIN_2;
	else if(numMad == 2)
		GPIO_Pin = GPIO_PIN_4;
	else if(numMad == 3)
		GPIO_Pin = GPIO_PIN_6;
	else {
		taskENABLE_INTERRUPTS();
		return;
	}
	HAL_GPIO_WritePin(GPIOE, GPIO_Pin, SET);
	status.stPower.isMadOn[numMad -1] = ACTIVE;
	activLedCurrentMad(numMad);
	taskENABLE_INTERRUPTS();
}

void moveOffRelay(uint16_t numMad) {
	taskDISABLE_INTERRUPTS();
	uint16_t GPIO_Pin;
	if(numMad == 1)
		GPIO_Pin = GPIO_PIN_2;
	else if(numMad == 2)
		GPIO_Pin = GPIO_PIN_4;
	else if(numMad == 3)
		GPIO_Pin = GPIO_PIN_6;
	else {
		taskENABLE_INTERRUPTS();
		return;
	}
	HAL_GPIO_WritePin(GPIOE, GPIO_Pin, RESET);
	status.stPower.isMadOn[numMad -1] = DEACTIVE;
	deactivLedCurrentMad(numMad);
	taskENABLE_INTERRUPTS();
}

void infoMoveToOverheadCurrentMad(uint16_t numMad) {
	union I2cMes mes;
	mes.frame.id = MES_CUR_TO_OVERHEAD;
	mes.frame.arg = numMad;
	osMessagePut(qMainTaskComHandle, mes.blob, 0);
}

void infoMoveToNormalCurrentMad(uint16_t numMad) {
	union I2cMes mes;
	mes.frame.id = MES_CUR_TO_NORMAL;
	mes.frame.arg = numMad;
	osMessagePut(qMainTaskComHandle, mes.blob, 0);
}

void setConfigure(struct Configure* pConf) {
	taskDISABLE_INTERRUPTS();
	configureEEPROM = *pConf;
	status.conf = configureEEPROM;
	taskENABLE_INTERRUPTS();
}

void sendBufToSc(void* pBuf, size_t len) {
	struct netbuf* pBufNet = netbuf_new();
	char* pData =netbuf_alloc(pBufNet, len);
	memcpy (pData, pBuf, len);
	netconn_send(conn, pBufNet);
	netbuf_delete(pBufNet);
}

void sendAnsStatus(int32_t statExecCom) {
	struct AnsWithStatusInfo ans;
	ans.head.endpoints.idSrc = ID_BAG;
	ans.head.endpoints.idBlock = ANSWER;
	ans.h_ans.id = STATUS;
	ans.h_ans.status = statExecCom;
	ans.curStatus = status;
	sendBufToSc(&ans, sizeof(ans));
}

void sendAnsConfig(int32_t statExecCom) {
	struct AnsWithConfigInfo ans;
	ans.head.endpoints.idSrc = ID_BAG;
	ans.head.endpoints.idBlock = ANSWER;
	ans.h_ans.id = CONFIGURE;
	ans.h_ans.status = statExecCom;
	ans.curConfig = status.conf;
	sendBufToSc(&ans, sizeof(ans));
}

void sendBufMonitPowerToSc(size_t lenPayolad) {
	sendBufToSc(bufDataMonitPower, sizeof(struct HeadPack) + sizeof(int32_t) + lenPayolad);
}

void sendBufINFOToSc(size_t lenPayolad) {
	sendBufToSc(bufInfo, sizeof(struct HeadPack) + lenPayolad);
}

void setModeF3toRec(void) {
	HAL_GPIO_WritePin(GPIOD, GPIO_PIN_4, SET);
}

void setModeF3toTrans(void) {
	HAL_GPIO_WritePin(GPIOD, GPIO_PIN_4, RESET);
}

void processSampleMonitPower(struct Sample* pSampl) {
	static struct Sample* const pPayLoad = (struct Sample*)(bufDataMonitPower + sizeof(struct HeadPack) + sizeof(int32_t));
	bool isSingleSamplInPack = true;
	toggleTestPinEx13();
	if(status.conf.seqNumSample < DISABLE_TRANS_DATA)
		return;
	switch(status.conf.seqNumSample) {
	case DISABLE_TRANS_DATA:
		return;
		break;
	case SINGLE_TRANS_DATA:
		*pPayLoad = normalization(pSampl);
		sendBufMonitPowerToSc(sizeof(struct Sample));
		status.conf.seqNumSample = DISABLE_TRANS_DATA;
		sendDisableTransMonitData();
		return;
		break;
	default:
		if((POWER_SAMPL_MONIT_FREQ / status.conf.seqNumSample) > MAX_FREQ_SINGL_SAMPL_MONIT_POWER)
			isSingleSamplInPack = false;
		if(++stFillBufMonitPower.curNum >= status.conf.seqNumSample) {	//необходима ли запись отсчёта
			if(isSingleSamplInPack) {	//один отсчёт на пакет
				*pPayLoad = normalization(pSampl);
				sendBufMonitPowerToSc(sizeof(struct Sample));
			} else {	//100 отсчётов на пакет
				*(pPayLoad + stFillBufMonitPower.alreadyFill++) = normalization(pSampl);
				if(stFillBufMonitPower.alreadyFill >= MAX_SAMPL_IN_PACK_DATA_MONIT_POWER) {
					sendBufMonitPowerToSc(MAX_SAMPL_IN_PACK_DATA_MONIT_POWER * sizeof(struct Sample));
					stFillBufMonitPower.alreadyFill = 0;
				}
			}
			stFillBufMonitPower.curNum = 0;
		}
		break;
	}
}

void initHeadPackDataMonitPower(void) {
	struct HeadPack* pHeadBufMonitPower = (struct HeadPack*)bufDataMonitPower;
	pHeadBufMonitPower->endpoints.idSrc = ID_BAG;
	pHeadBufMonitPower->endpoints.idBlock = DATA;
	int32_t* id_data = (int32_t*)(bufDataMonitPower + sizeof(struct HeadPack));
	*id_data = POWER;
}

void initHeadPackInfo(void) {
	struct HeadPack* pHeadBufInfo = (struct HeadPack*)bufInfo;
	pHeadBufInfo->endpoints.idSrc = ID_BAG;
	pHeadBufInfo->endpoints.idBlock = INFO;
}

void setPeriodTransDataMonitPower(int32_t time) {
	if(time <= DISABLE_TRANS_DATA)
		time = DISABLE_TRANS_DATA;
	else
		time = time / 10;
	if(status.conf.seqNumSample == DISABLE_TRANS_DATA && time != DISABLE_TRANS_DATA)
		sendEnableTransMonitData();
	stFillBufMonitPower.alreadyFill = 0;
	stFillBufMonitPower.curNum = 0;
	status.conf.seqNumSample = time;
	if(time == DISABLE_TRANS_DATA)
		sendDisableTransMonitData();
}

struct Sample normalization(struct Sample* pSampl) {
	struct Sample sampl;
	for(int i = 0; i < 3; i++)
		sampl.iMad[i] = pSampl->iMad[i] / DIVISION_FACTOR_MA;
	sampl.u48v = pSampl->u48v * MULTI_FACTOR_48V_MV;
	sampl.u300v = pSampl->u300v / DIVISION_FACTOR_300V_V;
	return sampl;
}

void writeToEEPROM(int8_t* pBuf, size_t len) {
	int8_t rBuf;
	if(len == 0)
		return;
	moveCsSPI4ToLow();
	//послать команду разрешения записи
	sendAndRecByteToEEPROM(E_WREN, &rBuf);
	moveCsSPI4ToHigh();
	//послать команду записи
	moveCsSPI4ToLow();
	sendAndRecByteToEEPROM(E_WRITE, &rBuf);
	//послать адрес считывания
	sendAndRecByteToEEPROM(ADDRESS_IN_EEPROM_MEM_1, &rBuf);
	sendAndRecByteToEEPROM(ADDRESS_IN_EEPROM_MEM_2, &rBuf);
	//посылка байтов данных
	for(size_t i = 0; i < len; i++) {
		sendAndRecByteToEEPROM(*(pBuf + i), &rBuf);
		moveCsSPI4ToHigh();
		moveCsSPI4ToLow();
		do {
			osDelay(1);
			sendAndRecByteToEEPROM(E_RDSR, &rBuf);
			sendAndRecByteToEEPROM(0xFF, &rBuf);

		} while((rBuf & 0x1) != 0);
	}

}

void readFromEEPROM(int8_t* pBuf, size_t len) {
	if(len == 0)
		return;
	moveCsSPI4ToLow();
	//послать команду считывания
	sendAndRecByteToEEPROM(E_READ, pBuf);
	//послать адрес считывания
	sendAndRecByteToEEPROM(ADDRESS_IN_EEPROM_MEM_1, pBuf);
	sendAndRecByteToEEPROM(ADDRESS_IN_EEPROM_MEM_2, pBuf);
	//считывание данных по вышеуказанному адресу
	for(size_t i = 0; i < len; i++)
		sendAndRecByteToEEPROM(0xFF, pBuf + i);
	moveCsSPI4ToHigh();
}

void sendAndRecByteToEEPROM(int8_t bT, int8_t* bR) {
	while(!(hspi4.Instance->SR & SPI_SR_TXE))
		osDelay(1);
	hspi4.Instance->DR = bT;
	while(!(hspi4.Instance->SR & SPI_SR_RXNE))
		osDelay(1);
	*bR = hspi4.Instance->DR;
}

void moveCsSPI4ToLow(void) {
	GPIOA->BSRR = GPIO_BSRR_BR_4;
}

void moveCsSPI4ToHigh(void) {
	GPIOA->BSRR = GPIO_BSRR_BS_4;
}

void setTestPinPA3(void) {
	HAL_GPIO_WritePin(GPIOA, GPIO_PIN_3, SET);
	int32_t* payoladInfo = (int32_t*)(bufInfo + sizeof(struct HeadPack));
	*payoladInfo = INF_SET_TEST_PIN_PA3;
	sendBufINFOToSc(sizeof(int32_t));

}

void setTestPinEx13(void){
	HAL_GPIO_WritePin(GPIOD, GPIO_PIN_8, SET);
	int32_t* payoladInfo = (int32_t*)(bufInfo + sizeof(struct HeadPack));
	*payoladInfo = INF_SET_TEST_PIN_EX13;
	sendBufINFOToSc(sizeof(int32_t));
	sendAnsStatus(OK);

}

void toggleTestPinEx13(void) {
	HAL_GPIO_TogglePin(GPIOD, GPIO_PIN_8);
}

void setTestPinEx15(void){
	HAL_GPIO_WritePin(GPIOD, GPIO_PIN_9, SET);
	int32_t* payoladInfo = (int32_t*)(bufInfo + sizeof(struct HeadPack));
	*payoladInfo = INF_SET_TEST_PIN_EX15;
	sendBufINFOToSc(sizeof(int32_t));
	sendAnsStatus(OK);
}

void toggleTestPinEx15(void) {
	HAL_GPIO_TogglePin(GPIOD, GPIO_PIN_9);
}

void setTestPinEx16(void){
	HAL_GPIO_WritePin(GPIOD, GPIO_PIN_13, SET);
	int32_t* payoladInfo = (int32_t*)(bufInfo + sizeof(struct HeadPack));
	*payoladInfo = INF_SET_TEST_PIN_EX16;
	sendBufINFOToSc(sizeof(int32_t));
	sendAnsStatus(OK);
}

void testCount1(void) {
	++t_count1;
}

void testCount2(void) {
	++t_count2;
}

void testCount3(void) {
	++t_count3;
}

void HAL_GPIO_EXTI_Callback(uint16_t GPIO_Pin) {
	uint16_t numMad;
	if(GPIO_Pin == GPIO_PIN_5)
		numMad = 3;
	else if(GPIO_Pin == GPIO_PIN_6)
		numMad = 2;
	else if(GPIO_Pin == GPIO_PIN_7)
		numMad = 1;
	else
		return;
	if(HAL_GPIO_ReadPin(GPIOD, GPIO_Pin) == GPIO_PIN_SET) {
		if(status.conf.isEnableAutoOffPowerMad == ACTIVE)
			moveOffRelay(numMad);
		infoMoveToOverheadCurrentMad(numMad);
	}
}

void SPI3_error(void) {
	//setTestPinPA3();
	testCount3();
}
/* USER CODE END Application */

/************************ (C) COPYRIGHT STMicroelectronics *****END OF FILE****/
